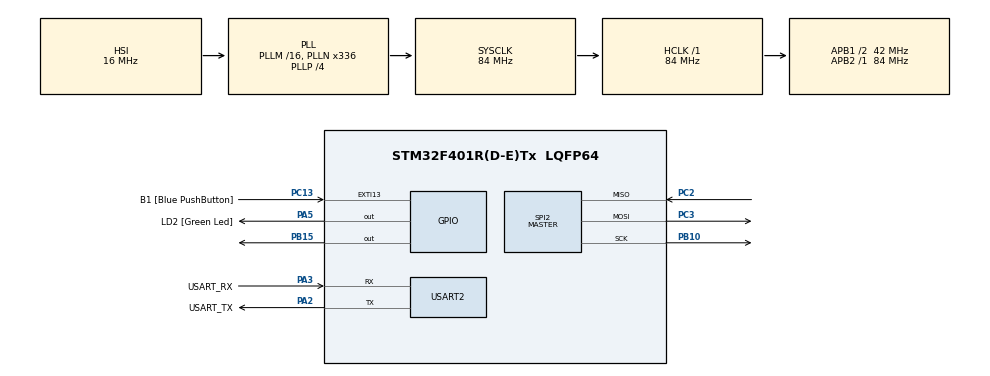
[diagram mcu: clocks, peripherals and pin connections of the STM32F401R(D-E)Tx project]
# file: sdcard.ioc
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FATFS._MAX_SS=4096
FATFS._USE_LFN=1
Mcu.Family=STM32F4
Mcu.Name=STM32F401R(D-E)Tx
Mcu.Package=LQFP64
NVIC.PriorityGroup=NVIC_PRIORITYGROUP_0
PA13.GPIO_Label=TMS
PA13.Mode=Serial_Wire
PA13.Signal=SYS_JTMS-SWDIO
PA14.GPIO_Label=TCK
PA14.Mode=Serial_Wire
PA14.Signal=SYS_JTCK-SWCLK
PA2.GPIO_Label=USART_TX
PA2.GPIO_Mode=GPIO_MODE_AF_PP
PA2.GPIO_PuPd=GPIO_NOPULL
PA2.GPIO_Speed=GPIO_SPEED_FREQ_LOW
PA2.Mode=Asynchronous
PA2.Signal=USART2_TX
PA3.GPIO_Label=USART_RX
PA3.GPIO_Mode=GPIO_MODE_AF_PP
PA3.GPIO_PuPd=GPIO_NOPULL
PA3.GPIO_Speed=GPIO_SPEED_FREQ_LOW
PA3.Mode=Asynchronous
PA3.Signal=USART2_RX
PA5.GPIO_Label=LD2 [Green Led]
PA5.GPIO_Mode=GPIO_MODE_OUTPUT_PP
PA5.GPIO_PuPd=GPIO_NOPULL
PA5.GPIO_Speed=GPIO_SPEED_FREQ_LOW
PA5.Signal=GPIO_Output
PB10.Mode=Full_Duplex_Master
PB10.Signal=SPI2_SCK
PB15.Signal=GPIO_Output
PB3.GPIO_Label=SWO
PB3.Signal=SYS_JTDO-SWO
PC13-ANTI_TAMP.GPIO_Label=B1 [Blue PushButton]
PC13-ANTI_TAMP.GPIO_ModeDefaultEXTI=GPIO_MODE_IT_FALLING
PC13-ANTI_TAMP.GPIO_PuPd=GPIO_NOPULL
PC13-ANTI_TAMP.Signal=GPXTI13
PC14-OSC32_IN.Mode=LSE-External-Oscillator
PC14-OSC32_IN.Signal=RCC_OSC32_IN
PC15-OSC32_OUT.Mode=LSE-External-Oscillator
PC15-OSC32_OUT.Signal=RCC_OSC32_OUT
PC2.Mode=Full_Duplex_Master
PC2.Signal=SPI2_MISO
PC3.Mode=Full_Duplex_Master
PC3.Signal=SPI2_MOSI
PH0\ -\ OSC_IN.Mode=HSE-External-Clock-Source
PH0\ -\ OSC_IN.Signal=RCC_OSC_IN
PH1\ -\ OSC_OUT.Mode=HSE-External-Clock-Source
PH1\ -\ OSC_OUT.Signal=RCC_OSC_OUT
ProjectManager.HeapSize=0x200
ProjectManager.StackSize=0x400
ProjectManager.TargetToolchain=STM32CubeIDE
RCC.48MHZClocksFreq_Value=48000000
RCC.AHBFreq_Value=84000000
RCC.APB1CLKDivider=RCC_HCLK_DIV2
RCC.APB1Freq_Value=42000000
RCC.APB1TimFreq_Value=84000000
RCC.APB2Freq_Value=84000000
RCC.APB2TimFreq_Value=84000000
RCC.CortexFreq_Value=84000000
RCC.HCLKFreq_Value=84000000
RCC.HSE_VALUE=8000000
RCC.HSI_VALUE=16000000
RCC.PLLN=336
RCC.PLLP=RCC_PLLP_DIV4
RCC.PLLQ=7
RCC.SYSCLKFreq_VALUE=84000000
RCC.SYSCLKSource=RCC_SYSCLKSOURCE_PLLCLK
RCC.VCOOutputFreq_Value=336000000
SPI2.BaudRatePrescaler=SPI_BAUDRATEPRESCALER_64
SPI2.Direction=SPI_DIRECTION_2LINES
SPI2.Mode=SPI_MODE_MASTER
SPI2.VirtualType=VM_MASTER
USART2.VirtualMode=VM_ASYNC
VP_FATFS_VS_Generic.Mode=User_defined
board=NUCLEO-F401RE

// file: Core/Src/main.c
/* USER CODE BEGIN Header */
/**
 ******************************************************************************
 * @file           : main.c
 * @brief          : Main program body
 ******************************************************************************
 * @attention
 *
 * Copyright (c) 2022 STMicroelectronics.
 * All rights reserved.
 *
 * This software is licensed under terms that can be found in the LICENSE file
 * in the root directory of this software component.
 * If no LICENSE file comes with this software, it is provided AS-IS.
 *
 ******************************************************************************
 */
/* USER CODE END Header */
#include "main.h"
#include "fatfs.h"
#include "spi.h"
#include "usart.h"
#include "gpio.h"

/* USER CODE BEGIN Includes */
#include "string.h"
#include "stdio.h"
/* USER CODE END Includes */

/* USER CODE BEGIN PM */
FATFS fs;  // file system
FIL fil; // File
FILINFO fno;
FRESULT fresult;  // result
UINT br, bw;  // File read/write count
char data[1200];
/**** capacity related *****/
FATFS *pfs;
DWORD fre_clust;
uint32_t total, free_space;

#define BUFFER_SIZE 128
char buffer[BUFFER_SIZE];  // to store strings..

/* USER CODE END PM */

/* USER CODE BEGIN PV */

void send_uart(char *string) {
	uint8_t len = strlen(string);
	HAL_UART_Transmit(&huart2, (uint8_t*) string, len, HAL_MAX_DELAY); // transmit in blocking mode
}
/* USER CODE END PV */

void SystemClock_Config(void);
/* USER CODE BEGIN PFP */
void backupData(void);
/* USER CODE END PFP */

int main(void) {

	/* MCU Configuration--------------------------------------------------------*/

	/* Reset of all peripherals, Initializes the Flash interface and the Systick. */
	HAL_Init();

	/* Configure the system clock */
	SystemClock_Config();

	/* Initialize all configured peripherals */
	MX_GPIO_Init();
	MX_USART2_UART_Init();
	MX_SPI2_Init();
	MX_FATFS_Init();

	/* Infinite loop */
	while (1) {

		/* USER CODE BEGIN 3 */
		sprintf(data,"Test Data:1231241.2131231\n");
		backupData();
		memset(data, 0, sizeof(data));
	}
	/* USER CODE END 3 */
}

void SystemClock_Config(void) {
	RCC_OscInitTypeDef RCC_OscInitStruct = { 0 };
	RCC_ClkInitTypeDef RCC_ClkInitStruct = { 0 };

	/** Configure the main internal regulator output voltage
	 */
	__HAL_RCC_PWR_CLK_ENABLE();
	__HAL_PWR_VOLTAGESCALING_CONFIG(PWR_REGULATOR_VOLTAGE_SCALE2);

	/** Initializes the RCC Oscillators according to the specified parameters
	 * in the RCC_OscInitTypeDef structure.
	 */
	RCC_OscInitStruct.OscillatorType = RCC_OSCILLATORTYPE_HSI;
	RCC_OscInitStruct.HSIState = RCC_HSI_ON;
	RCC_OscInitStruct.HSICalibrationValue = RCC_HSICALIBRATION_DEFAULT;
	RCC_OscInitStruct.PLL.PLLState = RCC_PLL_ON;
	RCC_OscInitStruct.PLL.PLLSource = RCC_PLLSOURCE_HSI;
	RCC_OscInitStruct.PLL.PLLM = 16;
	RCC_OscInitStruct.PLL.PLLN = 336;
	RCC_OscInitStruct.PLL.PLLP = RCC_PLLP_DIV4;
	RCC_OscInitStruct.PLL.PLLQ = 7;
	if (HAL_RCC_OscConfig(&RCC_OscInitStruct) != HAL_OK) {
		Error_Handler();
	}

	/** Initializes the CPU, AHB and APB buses clocks
	 */
	RCC_ClkInitStruct.ClockType = RCC_CLOCKTYPE_HCLK | RCC_CLOCKTYPE_SYSCLK
			| RCC_CLOCKTYPE_PCLK1 | RCC_CLOCKTYPE_PCLK2;
	RCC_ClkInitStruct.SYSCLKSource = RCC_SYSCLKSOURCE_PLLCLK;
	RCC_ClkInitStruct.AHBCLKDivider = RCC_SYSCLK_DIV1;
	RCC_ClkInitStruct.APB1CLKDivider = RCC_HCLK_DIV2;
	RCC_ClkInitStruct.APB2CLKDivider = RCC_HCLK_DIV1;

	if (HAL_RCC_ClockConfig(&RCC_ClkInitStruct, FLASH_LATENCY_2) != HAL_OK) {
		Error_Handler();
	}
}

/* USER CODE BEGIN 4 */
void backupData() {
	fresult = f_mount(&fs, "/", 1);
	if (fresult != FR_OK)
		send_uart("ERROR!!! in mounting SD CARD...\n\n");
	else
		send_uart("SD CARD mounted successfully...\n\n");
	/* Open file to write/ create a file if it doesn't exist */
	fresult = f_open(&fil, "datas.txt",
	FA_OPEN_ALWAYS | FA_READ | FA_WRITE);
	if (fresult == FR_OK) {
		send_uart("File is opened");
		f_mount(&fs, "", 0);
		f_open(&fil, "datas.txt", FA_OPEN_ALWAYS | FA_WRITE | FA_READ);
		f_lseek(&fil,f_size(&fil));
		f_puts(data, &fil);
		HAL_Delay(10);
	}

	/* Close file */
	f_close(&fil);
}
/* USER CODE END 4 */

void Error_Handler(void) {
	__disable_irq();
	while (1) {
	}
}
